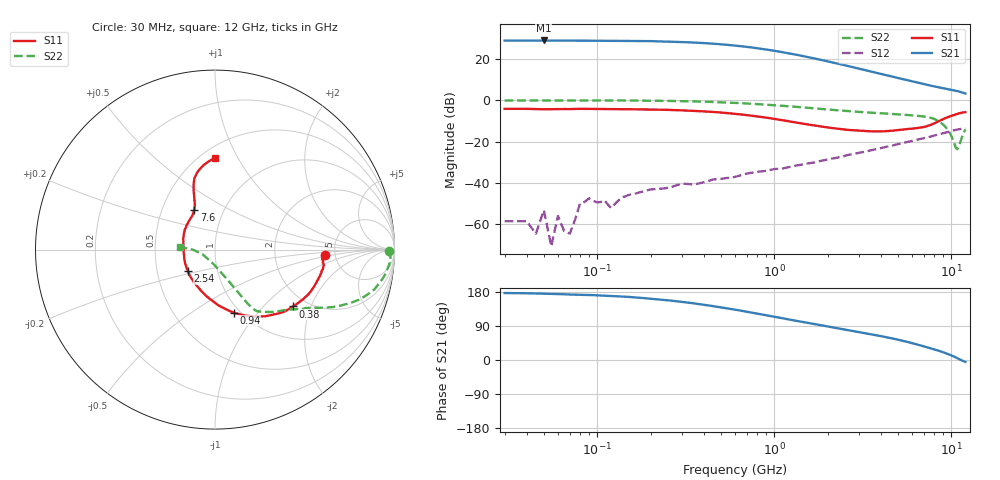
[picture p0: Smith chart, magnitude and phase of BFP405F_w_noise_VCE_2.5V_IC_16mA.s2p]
! Infineon Technologies  Discrete & RF Semiconductors
! BFP405F
! VCE =  2.5 V,  IC =  16 mA
! Common Emitter S-Parameters:  Nov 2015
# GHz  S  MA  R  50
!  f  S11  S21  S12  S22
! GHz  MAG  ANG  MAG  ANG  MAG  ANG  MAG  ANG
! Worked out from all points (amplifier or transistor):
!   239 points, 30 MHz to 12 GHz, reference 50 ohm
!   highest |S21| = 28.7 dB at 50 MHz (marker M1)
!   |S21| within 3 dB of that: start of sweep to 687.6 MHz
!   unconditionally stable (mu >= 1): 54.59 MHz to 56.08 MHz; 63.87 MHz to 70.87 MHz; 1.808 GHz to end of sweep
!   at 300 MHz: K = 0.30, MSG = 34.1 dB, |S12| = -40.3 dB
!   at 1.88 GHz: K = 1.03, MAG = 23.2 dB, |S12| = -29.2 dB
!   at 12 GHz: K = 1.38, MAG = 4.7 dB, |S12| = -13.6 dB
!   lowest NFmin = 2.03 dB at 450 MHz
!   S11 on the Smith chart (normalised r, x): 30 MHz: 4.12, -0.39; 380 MHz: 1.69, -1.51; 940 MHz: 0.94, -0.76; 2.54 GHz: 0.72, -0.18; 7.6 GHz: 0.72, +0.34; 12 GHz: 0.59, +0.81
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0.03  0.6126 -2.8  27.03 176.7  0.0012 99.7  0.9715 -0.3
0.045  0.6054 -4.4  27.16 175.4  0.0006 -144.0  0.9735 -1.0
0.05  0.5988 -5.0  27.25 174.8  0.0022 -118.7  0.9739 -1.2
0.055  0.6026 -5.5  27.13 174.5  0.0003 -137.5  0.9739 -1.4
0.06  0.6065 -5.9  27.01 174.1  0.0016 68.8  0.974 -1.5
0.07  0.6047 -6.7  26.98 172.8  0.0006 -42.3  0.9738 -2.0
0.085  0.6116 -8.6  26.89 171.8  0.0035 125.7  0.9787 -2.8
0.145  0.6014 -14.6  26.63 167.1  0.0048 86.6  0.973 -5.3
0.24  0.5818 -23.8  25.69 158.4  0.0074 81.5  0.9542 -8.9
0.3  0.5637 -29.3  25.01 153.4  0.0097 75.5  0.9388 -11.0
0.38  0.538 -36.1  23.84 147.3  0.0099 77.9  0.9192 -13.5
0.48  0.5062 -44.2  22.34 140.2  0.0124 75.7  0.8881 -16.2
0.6  0.4647 -53.1  20.52 132.7  0.014 72.2  0.8531 -18.9
0.7  0.4331 -59.4  19.13 127.3  0.0169 73.5  0.8245 -20.7
0.94  0.3659 -73.4  16.04 116.4  0.0204 71.3  0.763 -24.2
1.3  0.2907 -91.4  12.59 104.1  0.0258 69.3  0.6905 -27.9
1.64  0.2476 -106.5  10.31 95.8  0.0307 70.1  0.6375 -30.6
2.54  0.1929 -141.1  6.769 80.0  0.0456 68.1  0.5445 -37.7
4.5  0.1805 168.9  3.766 58.2  0.0781 62.2  0.4669 -48.1
7.6  0.2494 117.7  2.233 31.3  0.1308 49.6  0.3741 -57.9
10.8  0.4628 99.6  1.643 4.8  0.1936 30.9  0.0653 -133.7
12  0.5083 89.8  1.435 -5.0  0.2088 24.1  0.1967 176.1
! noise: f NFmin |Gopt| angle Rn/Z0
0.45  2.03  0.08  1  0.37
0.9  2.05  0.07  3  0.39
1.5  2.1  0.06  5  0.16
1.9  2.15  0.05  6  0.27
2.4  2.3  0.02  -8  0.38
3  2.38  0.02  -67  0.22
3.5  2.44  0.03  -99  0.35
4.5  2.65  0.09  -97  0.43
5.5  2.93  0.18  -88  0.16
